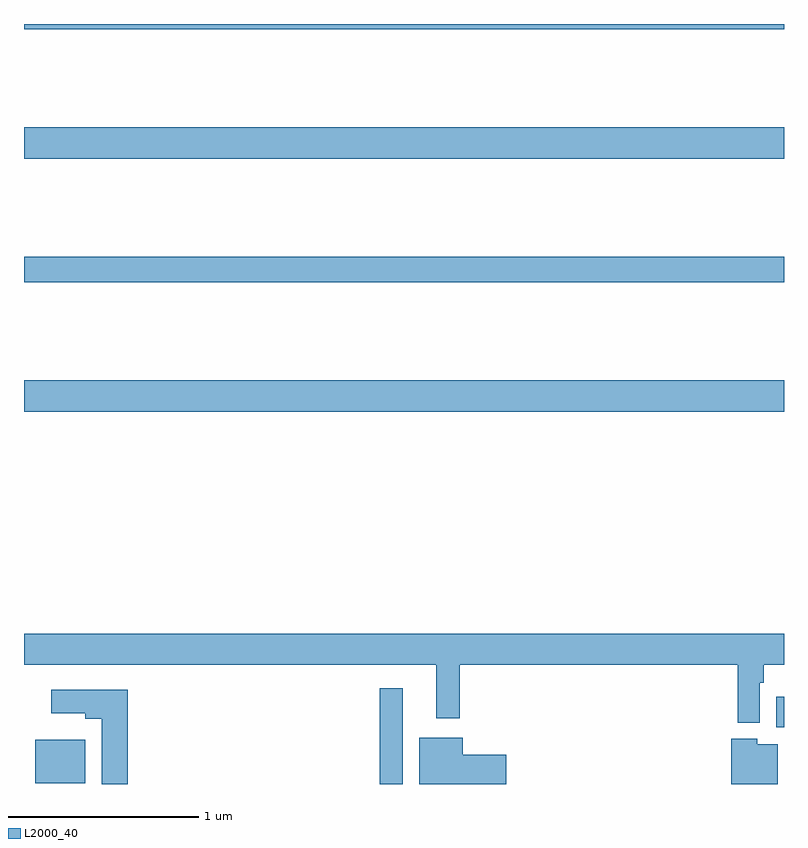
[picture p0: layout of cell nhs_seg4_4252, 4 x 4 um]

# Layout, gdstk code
import gdstk
lib = gdstk.Library(unit=1e-6, precision=1e-09)
def R(c, l, rs):  # rectangles x0, y0, x1, y1
    for r in rs: c.add(gdstk.rectangle(r[:2], r[2:], *l))
def P(c, l, *ps):  # polygons
    for p in ps: c.add(gdstk.Polygon(p, *l))
L2000_40 = (2000, 40)

nhs_seg4_4252 = lib.new_cell('nhs_seg4_4252')
R(nhs_seg4_4252, L2000_40, [(340.872,754.9,340.993,755.404), (339.059,754.904,339.322,755.134), (342.958,755.198,343,755.359), (339,756.86,343,757.024), (339,757.54,343,757.676), (339,758.192,343,758.356), (339,758.872,343,758.9)])
P(nhs_seg4_4252, L2000_40, [(339,755.528),(341.171,755.528),(341.171,755.247),(341.293,755.247),(341.293,755.528),(342.757,755.528),(342.757,755.222),(342.873,755.222),(342.873,755.432),(342.893,755.432),(342.893,755.528),(343,755.528),(343,755.692),(339,755.692)],
  [(339.545,755.395),(339.144,755.395),(339.144,755.273),(339.323,755.273),(339.323,755.243),(339.41,755.243),(339.41,754.9),(339.545,754.9)],
  [(341.539,755.055),(341.308,755.055),(341.308,755.143),(341.081,755.143),(341.081,754.9),(341.539,754.9)],
  [(342.967,755.11),(342.858,755.11),(342.858,755.137),(342.722,755.137),(342.722,754.9),(342.967,754.9)])

lib.write_gds('nhs_seg4_4252.gds')
